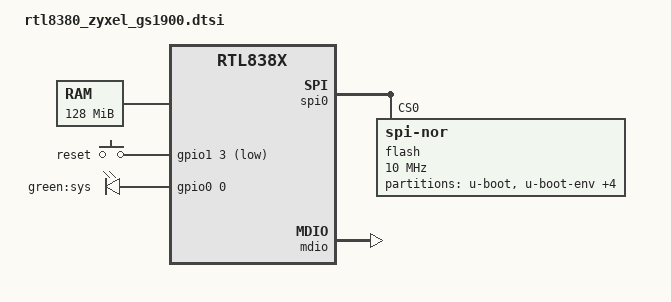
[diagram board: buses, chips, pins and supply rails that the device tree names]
// SPDX-License-Identifier: GPL-2.0-or-later

#include "rtl838x.dtsi"

#include <dt-bindings/input/input.h>
#include <dt-bindings/gpio/gpio.h>

/ {
	aliases {
		led-boot = &led_sys;
		led-failsafe = &led_sys;
		led-running = &led_sys;
		led-upgrade = &led_sys;
	};

	memory@0 {
		device_type = "memory";
		reg = <0x0 0x8000000>;
	};

	keys {
		compatible = "gpio-keys-polled";
		poll-interval = <20>;

		reset {
			label = "reset";
			gpios = <&gpio1 3 GPIO_ACTIVE_LOW>;
			linux,code = <KEY_RESTART>;
			debounce-interval = <100>;
		};
	};

	leds {
		pinctrl-names = "default";
		pinctrl-0 = <&pinmux_disable_sys_led>;
		compatible = "gpio-leds";

		led_sys: sys {
			label = "green:sys";
			gpios = <&gpio0 0 GPIO_ACTIVE_HIGH>;
		};
	};
};

&spi0 {
	status = "okay";

	flash@0 {
		compatible = "jedec,spi-nor";
		reg = <0>;
		spi-max-frequency = <10000000>;

		partitions {
			compatible = "fixed-partitions";
			#address-cells = <1>;
			#size-cells = <1>;

			partition@0 {
				label = "u-boot";
				reg = <0x0 0x40000>;
				read-only;
			};
			partition@40000 {
				label = "u-boot-env";
				reg = <0x40000 0x10000>;
				read-only;
			};
			partition@50000 {
				label = "u-boot-env2";
				reg = <0x50000 0x10000>;
			};
			partition@60000 {
				label = "jffs";
				reg = <0x60000 0x100000>;
			};
			partition@160000 {
				label = "jffs2";
				reg = <0x160000 0x100000>;
			};
			partition@b260000 {
				label = "firmware";
				reg = <0x260000 0xda0000>;
				compatible = "openwrt,uimage", "denx,uimage";
				openwrt,ih-magic = <0x83800000>;
			};
		};
	};
};

&ethernet0 {
	mdio: mdio-bus {
		compatible = "realtek,rtl838x-mdio";
		regmap = <&ethernet0>;
		#address-cells = <1>;
		#size-cells = <0>;

		INTERNAL_PHY(8)
		INTERNAL_PHY(9)
		INTERNAL_PHY(10)
		INTERNAL_PHY(11)
		INTERNAL_PHY(12)
		INTERNAL_PHY(13)
		INTERNAL_PHY(14)
		INTERNAL_PHY(15)
	};
};

&switch0 {
	ports {
		#address-cells = <1>;
		#size-cells = <0>;

		SWITCH_PORT(8, 1, internal)
		SWITCH_PORT(9, 2, internal)
		SWITCH_PORT(10, 3, internal)
		SWITCH_PORT(11, 4, internal)
		SWITCH_PORT(12, 5, internal)
		SWITCH_PORT(13, 6, internal)
		SWITCH_PORT(14, 7, internal)
		SWITCH_PORT(15, 8, internal)

		port@28 {
			ethernet = <&ethernet0>;
			reg = <28>;
			phy-mode = "internal";

			fixed-link {
				speed = <1000>;
				full-duplex;
			};
		};
	};
};
